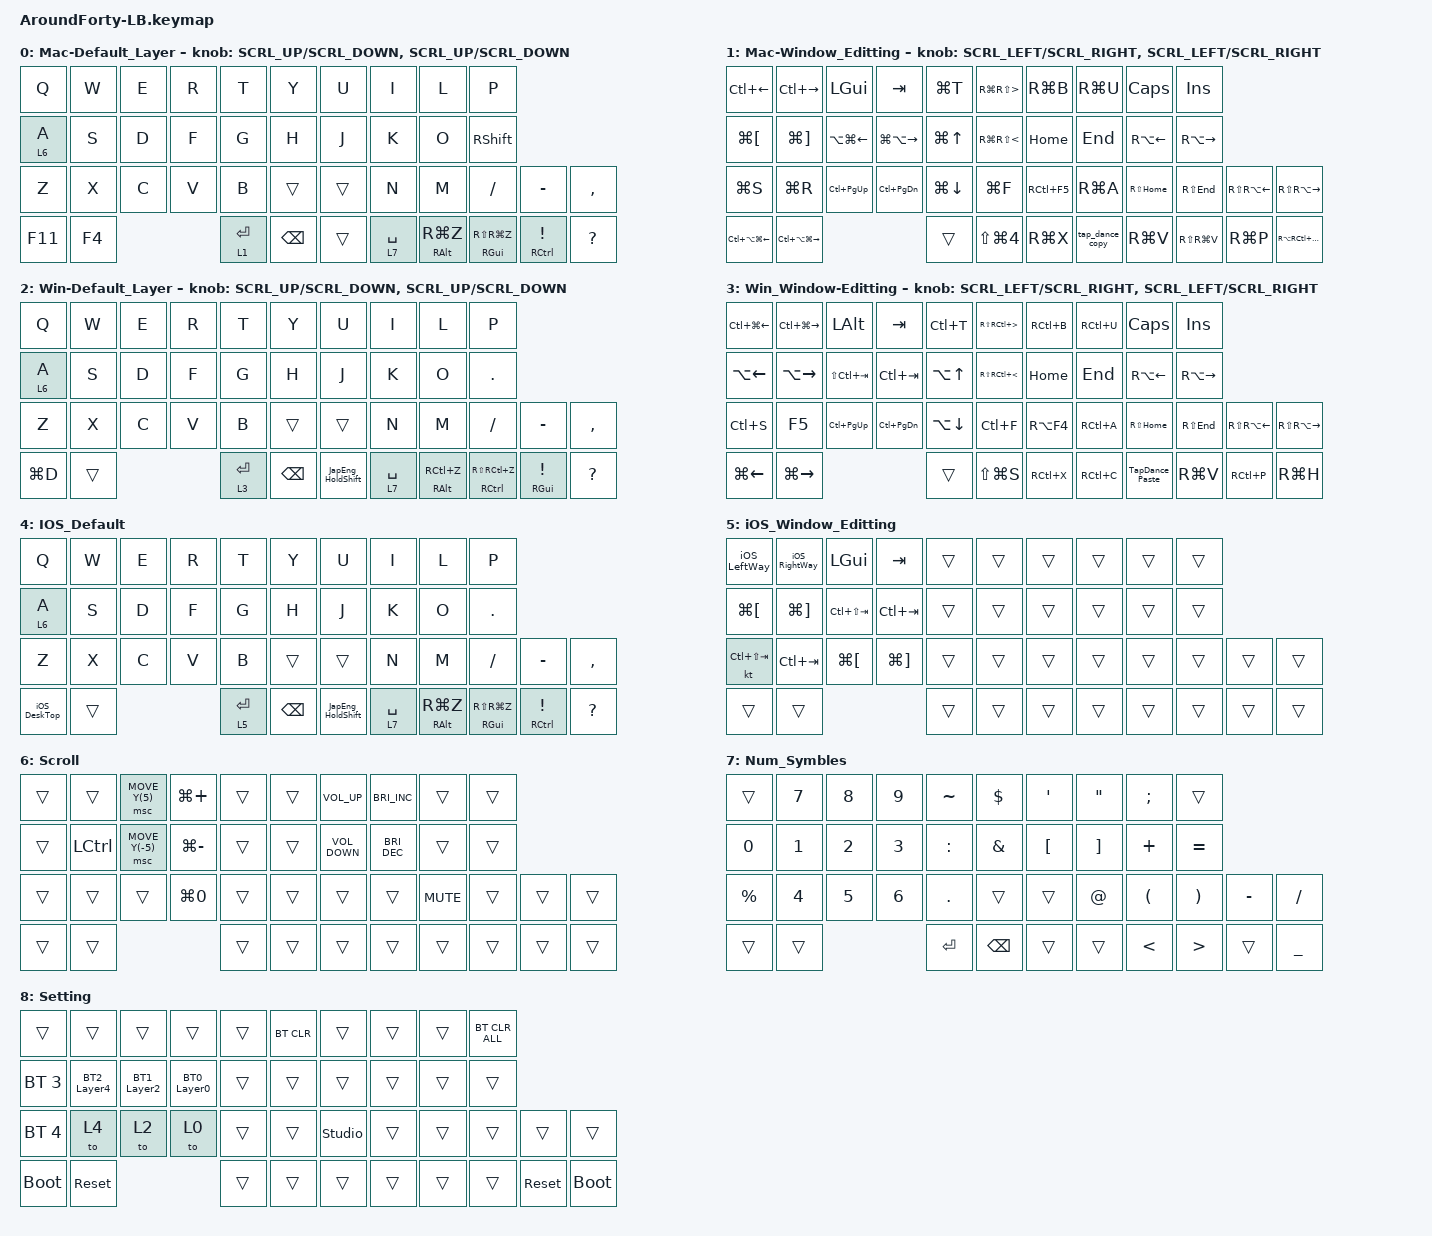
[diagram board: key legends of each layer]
#include <behaviors.dtsi>
#include <dt-bindings/zmk/bt.h>
#include <dt-bindings/zmk/keys.h>
#include <dt-bindings/zmk/pointing.h>

#undef ZMK_POINTING_DEFAULT_SCRL_VAL

#define ZMK_POINTING_DEFAULT_SCRL_VAL 100
#define MOUSE 6

&mt {
    flavor = "balanced";
    quick-tap-ms = <0>;
};

/ {
    //コンボ設定

    combos {
        compatible = "zmk,combos";

        shift_tab {
            bindings = <&kp LS(TAB)>;
            key-positions = <28 29>;
            layers = <0 2 4 1 3 5>;
            timeout-ms = <20>;
        };

        rightclick {
            bindings = <&mkp MB2>;
            key-positions = <12 11>;
        };

        delete {
            bindings = <&kp DELETE>;
            key-positions = <22 23>;
        };

        Left {
            bindings = <&kp LEFT>;
            key-positions = <16 17>;
            layers = <0 2 4 6 7 8>;
        };

        Right {
            bindings = <&kp RIGHT>;
            key-positions = <18 19>;
            layers = <0 2 4 6 7 8>;
        };

        Escape {
            bindings = <&lt_to_layer_0 8 ESCAPE>;
            key-positions = <35 36>;
        };

        LeftClick {
            bindings = <&mkp MB1>;
            key-positions = <12 13>;
            layers = <0 2 4 6 7 8>;
        };

        NumLayerToggle {
            bindings = <&tog 7>;
            key-positions = <25 26>;
        };

        Tab {
            bindings = <&kp TAB>;
            key-positions = <29 30>;
            layers = <0 2 4 1 3 5>;
            timeout-ms = <20>;
        };

        Up {
            bindings = <&kp UP_ARROW>;
            key-positions = <7 8>;
            layers = <0 2 4 6 7 8>;
        };

        Down {
            bindings = <&kp DOWN_ARROW>;
            key-positions = <17 18>;
            layers = <0 2 4 6 7 8>;
        };

        Katakana {
            bindings = <&kp RC(K)>;
            key-positions = <6 7>;
        };

        UpinNum {
            bindings = <&kp UP_ARROW>;
            key-positions = <1 2>;
            layers = <7>;
        };

        Down-in-Num {
            bindings = <&kp DOWN>;
            key-positions = <11 12>;
            layers = <7>;
        };

        Left-in-Num {
            bindings = <&kp LEFT_ARROW>;
            key-positions = <10 11>;
            layers = <7>;
        };

        Right-in-Num {
            bindings = <&kp RIGHT>;
            key-positions = <12 13>;
            layers = <7>;
        };

        Choice-Up {
            bindings = <&kp RS(UP_ARROW)>;
            key-positions = <7 8>;
            layers = <1 3 5>;
        };

        Choice-Down {
            bindings = <&kp RS(DOWN)>;
            key-positions = <17 18>;
            layers = <1 3 5>;
        };

        Choice-Left {
            bindings = <&kp RS(LEFT)>;
            key-positions = <16 17>;
            layers = <1 3 5>;
        };

        Choice-Right {
            bindings = <&kp RS(RIGHT)>;
            key-positions = <18 19>;
            layers = <1 3 5>;
        };

        CloseTab {
            bindings = <&kp LG(W)>;
            key-positions = <0 1>;
            layers = <1 3>;
        };

        CloseApp {
            bindings = <&kp LG(Q)>;
            key-positions = <21 20>;
            layers = <1 3>;
        };

        MacControlMission {
            bindings = <&kp LC(UP_ARROW)>;
            key-positions = <2 3>;
            layers = <0>;
            timeout-ms = <20>;
        };

        MacFullScreen {
            bindings = <&kp LG(LC(F))>;
            key-positions = <1 2>;
            layers = <0>;
            timeout-ms = <20>;
        };

        WinControlMission {
            bindings = <&kp LG(TAB)>;
            key-positions = <2 3>;
            timeout-ms = <20>;
            layers = <2>;
        };

        WinFullScreen {
            bindings = <&kp LG(UP_ARROW)>;
            key-positions = <1 2>;
            timeout-ms = <20>;
            layers = <2>;
        };

        iOS_FullScreen {
            bindings = <&kp LG(LC(F))>;
            key-positions = <1 2>;
            layers = <4>;
        };

        iOS_ControlMission {
            bindings = <&iOS_ControlMission>;
            key-positions = <2 3>;
            timeout-ms = <20>;
            layers = <4>;
        };
    };

    //マクロ(既存のキーの組み合わせ)

    macros {
        to_layer_0: to_layer_0 {
            compatible = "zmk,behavior-macro-one-param";
            #binding-cells = <1>;
            bindings = <&kp C_AC_NEXT_KEYBOARD_LAYOUT_SELECT &macro_param_1to1 &kp MACRO_PLACEHOLDER>;
            label = "TO_LAYER_0";
        };

        BT0_Layer0: BT0_Layer0 {
            compatible = "zmk,behavior-macro";
            #binding-cells = <0>;
            bindings = <&bt BT_SEL 0>, <&macro_wait_time 200>, <&to 0>;

            label = "BT0_LAYER0";
        };

        BT1_Layer2: BT1_Layer2 {
            compatible = "zmk,behavior-macro";
            #binding-cells = <0>;
            bindings = <&bt BT_SEL 1>, <&macro_wait_time 200>, <&to 2>;

            label = "BT1_LAYER2";
        };

        BT2_Layer4: BT2_Layer4 {
            compatible = "zmk,behavior-macro";
            #binding-cells = <0>;
            bindings = <&bt BT_SEL 2>, <&macro_wait_time 200>, <&to 4>;

            label = "BT2_LAYER4";
        };

        iOS_ControlMission: iOS_ControlMission {
            compatible = "zmk,behavior-macro";
            #binding-cells = <0>;
            bindings =
                <&macro_press>,
                <&kp C_AC_NEXT_KEYBOARD_LAYOUT_SELECT>,
                <&macro_tap>,
                <&kp UP_ARROW>,
                <&macro_release>,
                <&kp C_AC_NEXT_KEYBOARD_LAYOUT_SELECT>;

            label = "IOS_CONTROLMISSION";
        };

        iOS_DeskTop: iOS_DeskTop {
            compatible = "zmk,behavior-macro";
            #binding-cells = <0>;
            bindings =
                <&macro_press>,
                <&kp C_AC_NEXT_KEYBOARD_LAYOUT_SELECT>,
                <&macro_tap>,
                <&kp H>,
                <&macro_release>,
                <&kp C_AC_NEXT_KEYBOARD_LAYOUT_SELECT>;

            label = "IOS_DESKTOP";
        };

        iOS_RightWay: iOS_RightWay {
            compatible = "zmk,behavior-macro";
            #binding-cells = <0>;
            bindings =
                <&macro_press>,
                <&kp C_AC_NEXT_KEYBOARD_LAYOUT_SELECT>,
                <&macro_tap>,
                <&kp RIGHT>,
                <&macro_release>,
                <&kp C_AC_NEXT_KEYBOARD_LAYOUT_SELECT>;

            label = "IOS_RIGHTWAY";
        };

        iOS_LeftWay: iOS_LeftWay {
            compatible = "zmk,behavior-macro";
            #binding-cells = <0>;
            bindings =
                <&macro_press>,
                <&kp C_AC_NEXT_KEYBOARD_LAYOUT_SELECT>,
                <&macro_tap>,
                <&kp LEFT>,
                <&macro_release>,
                <&kp C_AC_NEXT_KEYBOARD_LAYOUT_SELECT>;

            label = "IOS_LEFTWAY";
        };

        MoveAPP_Right: MoveAPP_Right {
            compatible = "zmk,behavior-macro";
            #binding-cells = <0>;
            bindings = <&macro_press>, <&kp LGUI>, <&macro_tap>, <&kp TAB>;

            label = "MOVEAPP_RIGHT";
        };

        MoveApp_Left: MoveApp_Left {
            compatible = "zmk,behavior-macro";
            #binding-cells = <0>;
            bindings =
                <&macro_press>,
                <&kp LEFT_GUI>,
                <&macro_tap>,
                <&kp LS(TAB)>;

            label = "MOVEAPP_LEFT";
        };

        MoveApp_Release: MoveApp_Release {
            compatible = "zmk,behavior-macro";
            #binding-cells = <0>;
            bindings = <&macro_release>, <&kp LEFT_GUI>;

            label = "MOVEAPP_RELEASE";
            tap-ms = <0>;
        };
    };

    //新たな動作を定義する

    behaviors {
        lt_to_layer_0: lt_to_layer_0 {
            compatible = "zmk,behavior-hold-tap";
            label = "LAYER_TAP_TO_0";
            bindings = <&mo>, <&to_layer_0>;

            #binding-cells = <2>;
            tapping-term-ms = <200>;
        };

        mouse_scroll: mouse_wheel_scrl {
            compatible = "zmk,behavior-sensor-rotate-var";
            #sensor-binding-cells = <2>;
            bindings = <&msc>, <&msc>;

            tap-ms = <20>;
        };

        tap_dance_copy: tap_dance_copy {
            compatible = "zmk,behavior-tap-dance";
            label = "TAP_DANCE_COPY";
            #binding-cells = <0>;
            bindings = <&kp RG(C)>, <&kp RG(RS(C))>;
        };

        Tap_Hold_Prefer: Tap_Hold_Prefer {
            compatible = "zmk,behavior-hold-tap";
            label = "TAP_HOLD_PREFER";
            bindings = <&kp>, <&kp>;

            #binding-cells = <2>;
            tapping-term-ms = <250>;
            flavor = "tap-preferred";
        };

        AScrollLayerTapPrefer: AScrollLayerTapPrefer {
            compatible = "zmk,behavior-hold-tap";
            label = "ASCROLLLAYERTAPPREFER";
            bindings = <&mo>, <&kp>;

            #binding-cells = <2>;
            tapping-term-ms = <240>;
            flavor = "tap-preferred";
        };

        TapDance_Paste: TapDance_Paste {
            compatible = "zmk,behavior-tap-dance";
            label = "TAPDANCE_PASTE";
            #binding-cells = <0>;
            bindings = <&kp RC(V)>, <&kp RS(RC(V))>;
        };

        TapDance_MoveApp_Left: TapDance_MoveApp_Left {
            compatible = "zmk,behavior-tap-dance";
            label = "TAPDANCE_MOVEAPP_LEFT";
            #binding-cells = <0>;
            bindings = <&TapDance_MoveApp_Left>, <&MoveApp_Release>;
        };

        TapDance_MoveApp_Right: TapDance_MoveApp_Right {
            compatible = "zmk,behavior-tap-dance";
            label = "TAPDANCE_MOVEAPP_RIGHT";
            #binding-cells = <0>;
            bindings = <&MoveAPP_Right>, <&MoveApp_Release>;
        };

        Mac_AppRight: Mac_AppRight {
            compatible = "zmk,behavior-hold-tap";
            label = "MAC_APPRIGHT";
            bindings = <&MoveApp_Release>, <&MoveAPP_Right>;

            #binding-cells = <2>;
            tapping-term-ms = <240>;
            flavor = "tap-preferred";
        };

        Mac_MoveLeft: Mac_MoveLeft {
            compatible = "zmk,behavior-hold-tap";
            label = "MAC_MOVELEFT";
            bindings = <&MoveApp_Release>, <&MoveApp_Left>;

            #binding-cells = <2>;
            tapping-term-ms = <240>;
            flavor = "tap-preferred";
        };

        JapEng_HoldShift: JapEng_HoldShift {
            compatible = "zmk,behavior-tap-dance";
            label = "JAPENG_HOLDSHIFT";
            #binding-cells = <0>;
            bindings = <&kp LANGUAGE_2>, <&mt LEFT_SHIFT LANGUAGE_1>;
        };
    };

    //キーマップ設定

    keymap {
        compatible = "zmk,keymap";

        Mac-Default_Layer {
            bindings = <
&kp Q                       &kp W   &kp E  &kp R  &kp T          &kp Y          &kp U   &kp I                   &kp L                &kp P
&AScrollLayerTapPrefer 6 A  &kp S   &kp D  &kp F  &kp G          &kp H          &kp J   &kp K                   &kp O                &kp RIGHT_SHIFT
&kp Z                       &kp X   &kp C  &kp V  &kp B          &trans         &trans  &kp N                   &kp M                &kp SLASH                &kp MINUS              &kp COMMA
&kp F11                     &kp F4                &lt 1 ENTER    &kp BACKSPACE  &trans  &lt_to_layer_0 7 SPACE  &mt RIGHT_ALT RG(Z)  &mt RIGHT_GUI RS(RG(Z))  &mt RCTRL EXCLAMATION  &kp QUESTION
            >;

            sensor-bindings =
                <&mouse_scroll SCRL_UP SCRL_DOWN>,
                <&mouse_scroll SCRL_UP SCRL_DOWN>;
        };

        Mac-Window_Editting {
            bindings = <
&kp LC(LEFT)          &kp LC(RIGHT)          &kp LEFT_GUI      &kp TAB            &kp LG(T)           &kp RG(RS(GREATER_THAN))  &kp RG(B)   &kp RG(U)        &kp CAPSLOCK  &kp INSERT
&kp LG(LEFT_BRACKET)  &kp LG(RIGHT_BRACKET)  &kp LA(LG(LEFT))  &kp LG(LA(RIGHT))  &kp LG(UP_ARROW)    &kp RG(RS(LESS_THAN))     &kp HOME    &kp END          &kp RA(LEFT)  &kp RA(RIGHT)
&kp LG(S)             &kp LG(R)              &kp LC(PAGE_UP)   &kp LC(PAGE_DOWN)  &kp LG(DOWN)        &kp LG(F)                 &kp RC(F5)  &kp RG(A)        &kp RS(HOME)  &kp RS(END)    &kp RS(RA(LEFT))  &kp RS(RA(RIGHT))
&kp LC(LA(LG(LEFT)))  &kp LC(LA(LG(RIGHT)))                                       &trans              &kp LS(LG(NUMBER_4))      &kp RG(X)   &tap_dance_copy  &kp RG(V)     &kp RS(RG(V))  &kp RG(P)         &kp RA(RC(RG(D)))
            >;

            sensor-bindings =
                <&mouse_scroll SCRL_LEFT SCRL_RIGHT>,
                <&mouse_scroll SCRL_LEFT SCRL_RIGHT>;
        };

        Win-Default_Layer {
            bindings = <
&kp Q                       &kp W   &kp E  &kp R  &kp T          &kp Y          &kp U              &kp I        &kp L                &kp P
&AScrollLayerTapPrefer 6 A  &kp S   &kp D  &kp F  &kp G          &kp H          &kp J              &kp K        &kp O                &kp PERIOD
&kp Z                       &kp X   &kp C  &kp V  &kp B          &trans         &trans             &kp N        &kp M                &kp SLASH            &kp MINUS                  &kp COMMA
&kp LG(D)                   &trans                &lt 3 ENTER    &kp BACKSPACE  &JapEng_HoldShift  &lt 7 SPACE  &mt RIGHT_ALT RC(Z)  &mt RCTRL RS(RC(Z))  &mt RIGHT_GUI EXCLAMATION  &kp QUESTION
            >;

            sensor-bindings =
                <&mouse_scroll SCRL_UP SCRL_DOWN>,
                <&mouse_scroll SCRL_UP SCRL_DOWN>;
        };

        Win_Window-Editting {
            bindings = <
&kp LC(LG(LEFT))  &kp LC(LG(RIGHT))  &kp LEFT_ALT     &kp TAB            &kp LC(T)           &kp RS(RC(GREATER_THAN))  &kp RC(B)   &kp RC(U)  &kp CAPSLOCK     &kp INSERT
&kp LA(LEFT)      &kp LA(RIGHT)      &kp LS(LC(TAB))  &kp LC(TAB)        &kp LA(UP_ARROW)    &kp RS(RC(LESS_THAN))     &kp HOME    &kp END    &kp RA(LEFT)     &kp RA(RIGHT)
&kp LC(S)         &kp F5             &kp LC(PAGE_UP)  &kp LC(PAGE_DOWN)  &kp LA(DOWN)        &kp LC(F)                 &kp RA(F4)  &kp RC(A)  &kp RS(HOME)     &kp RS(END)    &kp RS(RA(LEFT))  &kp RS(RA(RIGHT))
&kp LG(LEFT)      &kp LG(RIGHT)                                          &trans              &kp LS(LG(S))             &kp RC(X)   &kp RC(C)  &TapDance_Paste  &kp RG(V)      &kp RC(P)         &kp RG(H)
            >;

            sensor-bindings =
                <&mouse_scroll SCRL_LEFT SCRL_RIGHT>,
                <&mouse_scroll SCRL_LEFT SCRL_RIGHT>;
        };

        IOS_Default {
            bindings = <
&kp Q                       &kp W   &kp E  &kp R  &kp T          &kp Y          &kp U              &kp I        &kp L                &kp P
&AScrollLayerTapPrefer 6 A  &kp S   &kp D  &kp F  &kp G          &kp H          &kp J              &kp K        &kp O                &kp DOT
&kp Z                       &kp X   &kp C  &kp V  &kp B          &trans         &trans             &kp N        &kp M                &kp SLASH                &kp MINUS              &kp COMMA
&iOS_DeskTop                &trans                &lt 5 ENTER    &kp BACKSPACE  &JapEng_HoldShift  &lt 7 SPACE  &mt RIGHT_ALT RG(Z)  &mt RIGHT_GUI RS(RG(Z))  &mt RCTRL EXCLAMATION  &kp QUESTION
            >;
        };

        iOS_Window_Editting {
            bindings = <
&iOS_LeftWay          &iOS_RightWay          &kp LEFT_GUI          &kp TAB                &trans    &trans  &trans  &trans  &trans  &trans
&kp LG(LEFT_BRACKET)  &kp LG(RIGHT_BRACKET)  &kp LC(LS(TAB))       &kp LC(TAB)            &trans    &trans  &trans  &trans  &trans  &trans
&kt LC(LS(TAB))       &kp LC(TAB)            &kp LG(LEFT_BRACKET)  &kp LG(RIGHT_BRACKET)  &trans    &trans  &trans  &trans  &trans  &trans  &trans  &trans
&trans                &trans                                                              &trans    &trans  &trans  &trans  &trans  &trans  &trans  &trans
            >;
        };

        Scroll {
            bindings = <
&trans  &trans     &msc MOVE_Y(5)   &kp LG(PLUS)   &trans    &trans  &kp C_VOLUME_UP    &kp C_BRIGHTNESS_INC  &trans      &trans
&trans  &kp LCTRL  &msc MOVE_Y(-5)  &kp LG(MINUS)  &trans    &trans  &kp C_VOLUME_DOWN  &kp C_BRIGHTNESS_DEC  &trans      &trans
&trans  &trans     &trans           &kp LG(N0)     &trans    &trans  &trans             &trans                &kp C_MUTE  &trans  &trans  &trans
&trans  &trans                                     &trans    &trans  &trans             &trans                &trans      &trans  &trans  &trans
            >;
        };

        Num_Symbles {
            bindings = <
&trans       &kp N7        &kp N8        &kp N9        &kp TILDE     &kp DOLLAR     &kp SINGLE_QUOTE  &kp DOUBLE_QUOTES  &kp SEMICOLON         &trans
&kp N0       &kp NUMBER_1  &kp NUMBER_2  &kp NUMBER_3  &kp COLON     &kp AMPERSAND  &kp LEFT_BRACKET  &kp RIGHT_BRACKET  &kp PLUS              &kp EQUAL
&kp PERCENT  &kp NUMBER_4  &kp N5        &kp NUMBER_6  &kp PERIOD    &trans         &trans            &kp AT_SIGN        &kp LEFT_PARENTHESIS  &kp RIGHT_PARENTHESIS  &kp MINUS  &kp SLASH
&trans       &trans                                    &kp ENTER     &kp BACKSPACE  &trans            &trans             &kp LESS_THAN         &kp GREATER_THAN       &trans     &kp UNDERSCORE
            >;
        };

        Setting {
            bindings = <
&trans        &trans       &trans       &trans       &trans    &bt BT_CLR  &trans          &trans  &trans  &bt BT_CLR_ALL
&bt BT_SEL 3  &BT2_Layer4  &BT1_Layer2  &BT0_Layer0  &trans    &trans      &trans          &trans  &trans  &trans
&bt BT_SEL 4  &to 4        &to 2        &to 0        &trans    &trans      &studio_unlock  &trans  &trans  &trans          &trans      &trans
&bootloader   &sys_reset                             &trans    &trans      &trans          &trans  &trans  &trans          &sys_reset  &bootloader
            >;
        };
    };
};
